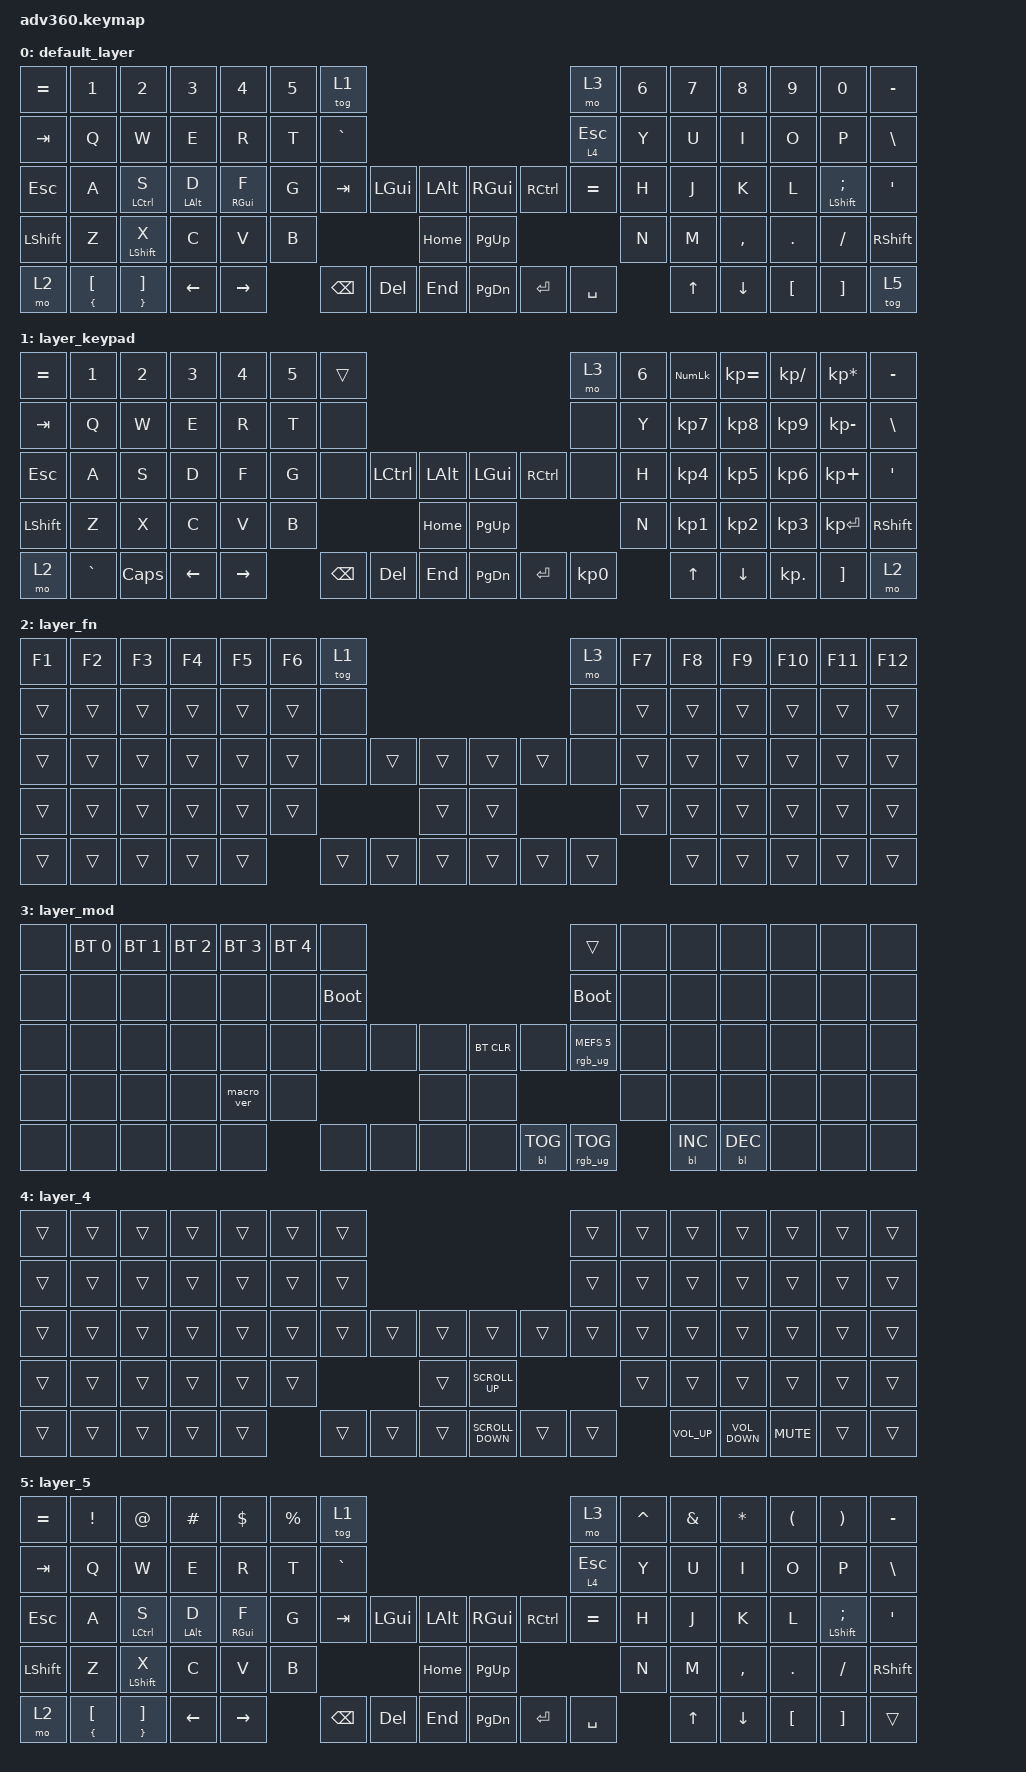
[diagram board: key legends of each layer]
/*
 * Copyright (c) 2020 The ZMK Contributors
 *
 * SPDX-License-Identifier: MIT
 */
/* THIS FILE WAS GENERATED!
 *
 * This file was generated automatically. You may or may not want to
 * edit it directly.
 */

#include <behaviors.dtsi>
#include <dt-bindings/zmk/backlight.h>
#include <dt-bindings/zmk/bt.h>
#include <dt-bindings/zmk/keys.h>
#include <dt-bindings/zmk/rgb.h>

/ {
    behaviors {
        #include "macros.dtsi"
    #include "version.dtsi"

        hm: homerow_mods {
            compatible = "zmk,behavior-hold-tap";
            label = "HOMEROW_MODS";
            #binding-cells = <2>;
            tapping-term-ms = <300>;
            quick_tap_ms = <175>;
            flavor = "tap-preferred";
            bindings = <&kp>, <&kp>;
        };
    };

    keymap {
        compatible = "zmk,keymap";

        default_layer {
            bindings = <
&kp EQUAL  &kp N1                       &kp N2                         &kp N3          &kp N4      &kp N5  &tog 1                                                       &mo 3      &kp N6  &kp N7  &kp N8     &kp N9    &kp N0          &kp MINUS
&kp TAB    &kp Q                        &kp W                          &kp E           &kp R       &kp T   &kp GRAVE                                                    &lt 4 ESC  &kp Y   &kp U   &kp I      &kp O     &kp P           &kp BSLH
&kp ESC    &kp A                        &hm LEFT_CONTROL S             &hm LEFT_ALT D  &hm RGUI F  &kp G   &kp TAB    &kp LGUI  &kp LALT      &kp RIGHT_GUI  &kp RCTRL  &kp EQUAL  &kp H   &kp J   &kp K      &kp L     &hm LSHFT SEMI  &kp SQT
&kp LSHFT  &kp Z                        &hm LSHIFT X                   &kp C           &kp V       &kp B                        &kp HOME      &kp PG_UP                            &kp N   &kp M   &kp COMMA  &kp DOT   &kp FSLH        &kp RSHFT
&mo 2      &hm LEFT_BRACE LEFT_BRACKET  &hm RIGHT_BRACE RIGHT_BRACKET  &kp LEFT        &kp RIGHT           &kp BSPC   &kp DEL   &kp END       &kp PG_DN      &kp ENTER  &kp SPACE          &kp UP  &kp DOWN   &kp LBKT  &kp RBKT        &tog 5
            >;
        };

        layer_keypad {
            bindings = <
&kp EQUAL  &kp N1     &kp N2    &kp N3    &kp N4     &kp N5  &trans                                                   &mo 3      &kp N6  &kp KP_NUM  &kp KP_EQUAL  &kp KP_DIVIDE  &kp KP_MULTIPLY  &kp MINUS
&kp TAB    &kp Q      &kp W     &kp E     &kp R      &kp T   &none                                                    &none      &kp Y   &kp KP_N7   &kp KP_N8     &kp KP_N9      &kp KP_MINUS     &kp BSLH
&kp ESC    &kp A      &kp S     &kp D     &kp F      &kp G   &none     &kp LCTRL  &kp LALT      &kp LGUI   &kp RCTRL  &none      &kp H   &kp KP_N4   &kp KP_N5     &kp KP_N6      &kp KP_PLUS      &kp SQT
&kp LSHFT  &kp Z      &kp X     &kp C     &kp V      &kp B                        &kp HOME      &kp PG_UP                        &kp N   &kp KP_N1   &kp KP_N2     &kp KP_N3      &kp KP_ENTER     &kp RSHFT
&mo 2      &kp GRAVE  &kp CAPS  &kp LEFT  &kp RIGHT          &kp BSPC  &kp DEL    &kp END       &kp PG_DN  &kp ENTER  &kp KP_N0          &kp UP      &kp DOWN      &kp KP_DOT     &kp RBKT         &mo 2
            >;
        };

        layer_fn {
            bindings = <
&kp F1  &kp F2  &kp F3  &kp F4  &kp F5  &kp F6  &tog 1                                      &mo 3   &kp F7  &kp F8  &kp F9  &kp F10  &kp F11  &kp F12
&trans  &trans  &trans  &trans  &trans  &trans  &none                                       &none   &trans  &trans  &trans  &trans   &trans   &trans
&trans  &trans  &trans  &trans  &trans  &trans  &none   &trans  &trans      &trans  &trans  &none   &trans  &trans  &trans  &trans   &trans   &trans
&trans  &trans  &trans  &trans  &trans  &trans                  &trans      &trans                  &trans  &trans  &trans  &trans   &trans   &trans
&trans  &trans  &trans  &trans  &trans          &trans  &trans  &trans      &trans  &trans  &trans          &trans  &trans  &trans   &trans   &trans
            >;
        };

        layer_mod {
            bindings = <
&none  &bt BT_SEL 0  &bt BT_SEL 1  &bt BT_SEL 2  &bt BT_SEL 3  &bt BT_SEL 4  &none                                                  &trans                  &none  &none       &none       &none  &none  &none
&none  &none         &none         &none         &none         &none         &bootloader                                            &bootloader             &none  &none       &none       &none  &none  &none
&none  &none         &none         &none         &none         &none         &none        &none  &none      &bt BT_CLR  &none       &rgb_ug RGB_MEFS_CMD 5  &none  &none       &none       &none  &none  &none
&none  &none         &none         &none         &macro_ver    &none                             &none      &none                                           &none  &none       &none       &none  &none  &none
&none  &none         &none         &none         &none                       &none        &none  &none      &none       &bl BL_TOG  &rgb_ug RGB_TOG                &bl BL_INC  &bl BL_DEC  &none  &none  &none
            >;
        };

        layer_4 {
            bindings = <
&trans  &trans  &trans  &trans  &trans  &trans  &trans                                                 &trans  &trans  &trans           &trans             &trans      &trans  &trans
&trans  &trans  &trans  &trans  &trans  &trans  &trans                                                 &trans  &trans  &trans           &trans             &trans      &trans  &trans
&trans  &trans  &trans  &trans  &trans  &trans  &trans  &trans  &trans      &trans             &trans  &trans  &trans  &trans           &trans             &trans      &trans  &trans
&trans  &trans  &trans  &trans  &trans  &trans                  &trans      &kp K_SCROLL_UP                    &trans  &trans           &trans             &trans      &trans  &trans
&trans  &trans  &trans  &trans  &trans          &trans  &trans  &trans      &kp K_SCROLL_DOWN  &trans  &trans          &kp C_VOLUME_UP  &kp C_VOLUME_DOWN  &kp C_MUTE  &trans  &trans
            >;
        };

        layer_5 {
            bindings = <
&kp EQUAL  &kp EXCLAMATION              &kp AT_SIGN                    &kp HASH        &kp DOLLAR  &kp PERCENT  &tog 1                                                   &mo 3      &kp CARET  &kp AMPERSAND  &kp ASTERISK  &kp LEFT_PARENTHESIS  &kp RIGHT_PARENTHESIS  &kp MINUS
&kp TAB    &kp Q                        &kp W                          &kp E           &kp R       &kp T        &kp GRAVE                                                &lt 4 ESC  &kp Y      &kp U          &kp I         &kp O                 &kp P                  &kp BSLH
&kp ESC    &kp A                        &hm LCTRL S                    &hm LEFT_ALT D  &hm RGUI F  &kp G        &kp TAB    &kp LGUI  &kp LALT      &kp RGUI   &kp RCTRL  &kp EQUAL  &kp H      &kp J          &kp K         &kp L                 &hm LSHFT SEMI         &kp SQT
&kp LSHFT  &kp Z                        &hm LSHIFT X                   &kp C           &kp V       &kp B                             &kp HOME      &kp PG_UP                        &kp N      &kp M          &kp COMMA     &kp DOT               &kp FSLH               &kp RSHFT
&mo 2      &hm LEFT_BRACE LEFT_BRACKET  &hm RIGHT_BRACE RIGHT_BRACKET  &kp LEFT        &kp RIGHT                &kp BSPC   &kp DEL   &kp END       &kp PG_DN  &kp ENTER  &kp SPACE             &kp UP         &kp DOWN      &kp LBKT              &kp RBKT               &trans
            >;
        };
    };
};
